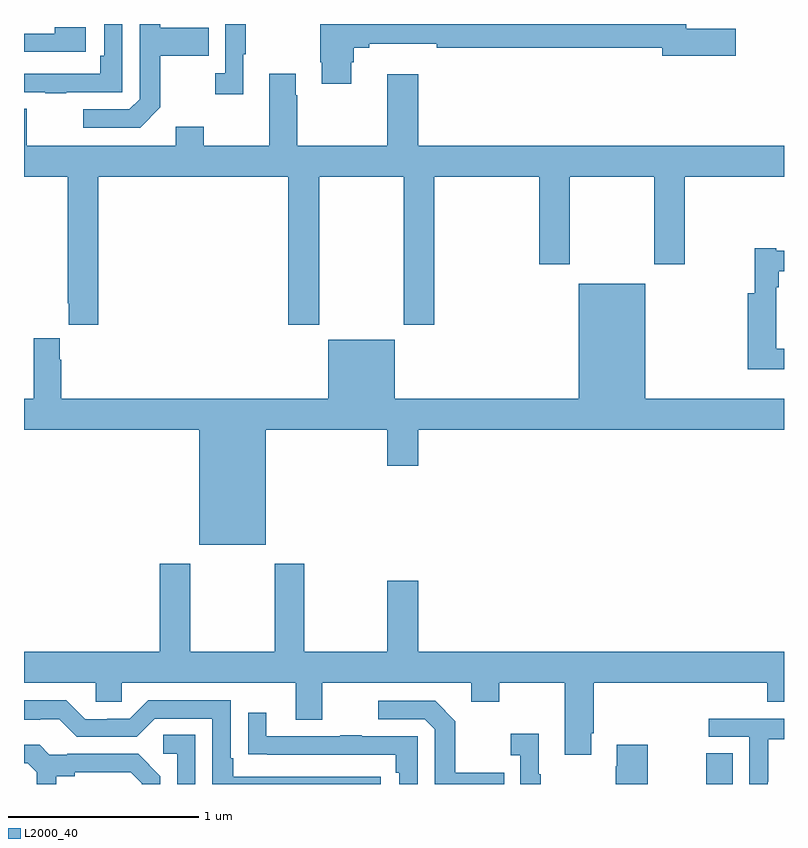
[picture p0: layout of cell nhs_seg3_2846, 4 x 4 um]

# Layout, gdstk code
import gdstk
lib = gdstk.Library(unit=1e-6, precision=1e-09)
def R(c, l, rs):  # rectangles x0, y0, x1, y1
    for r in rs: c.add(gdstk.rectangle(r[:2], r[2:], *l))
def P(c, l, *ps):  # polygons
    for p in ps: c.add(gdstk.Polygon(p, *l))
L2000_40 = (2000, 40)

nhs_seg3_2846 = lib.new_cell('nhs_seg3_2846')
R(nhs_seg3_2846, L2000_40, [(262.591,684.4,262.729,684.563)])
P(nhs_seg3_2846, L2000_40, [(259.717,687.961),(259.717,688.234),(259.973,688.234),(259.973,688.381),(259.717,688.381),(259.717,688.4),(259.608,688.4),(259.608,688.005),(259.554,687.951),(259.311,687.951),(259.311,687.855),(259.611,687.855)],
  [(260.722,688.199),(260.735,688.199),(260.735,688.276),(260.818,688.276),(260.818,688.295),(261.172,688.295),(261.172,688.276),(262.358,688.276),(262.358,688.234),(262.747,688.234),(262.747,688.376),(262.486,688.376),(262.486,688.4),(260.56,688.4),(260.56,688.198),(260.567,688.198),(260.567,688.086),(260.722,688.086)],
  [(260.155,688.241),(260.166,688.241),(260.166,688.4),(260.058,688.4),(260.058,688.142),(260.007,688.142),(260.007,688.029),(260.155,688.029)],
  [(259.223,688.041),(259.518,688.041),(259.518,688.4),(259.422,688.4),(259.422,688.234),(259.402,688.234),(259.402,688.137),(259,688.137),(259,688.041),(259.111,688.041),(259.111,688.036),(259.223,688.036)],
  [(259.324,688.384),(259.163,688.384),(259.163,688.35),(259,688.35),(259,688.254),(259.324,688.254)],
  [(259.391,687.596),(260.392,687.596),(260.392,686.817),(260.553,686.817),(260.553,687.596),(260.998,687.596),(260.998,686.817),(261.158,686.817),(261.158,687.596),(261.713,687.596),(261.713,687.135),(261.873,687.135),(261.873,687.596),(262.318,687.596),(262.318,687.135),(262.478,687.135),(262.478,687.596),(263,687.596),(263,687.76),(261.076,687.76),(261.076,688.135),(260.912,688.135),(260.912,687.76),(260.439,687.76),(260.439,688.025),(260.431,688.025),(260.431,688.138),(260.291,688.138),(260.291,687.76),(259.947,687.76),(259.947,687.859),(259.799,687.859),(259.799,687.76),(259.015,687.76),(259.015,687.955),(259,687.955),(259,687.596),(259.231,687.596),(259.231,686.929),(259.235,686.929),(259.235,686.817),(259.391,686.817)],
  [(263,686.692),(262.958,686.692),(262.958,687.014),(262.973,687.014),(262.973,687.099),(263,687.099),(263,687.207),(262.96,687.207),(262.96,687.22),(262.845,687.22),(262.845,686.983),(262.808,686.983),(262.808,686.582),(263,686.582)],
  [(261.076,686.264),(263,686.264),(263,686.428),(262.27,686.428),(262.27,687.034),(261.92,687.034),(261.92,686.428),(260.95,686.428),(260.95,686.737),(260.6,686.737),(260.6,686.428),(259.196,686.428),(259.196,686.633),(259.189,686.633),(259.189,686.746),(259.052,686.746),(259.052,686.428),(259,686.428),(259,686.264),(259.922,686.264),(259.922,685.658),(260.272,685.658),(260.272,686.264),(260.912,686.264),(260.912,686.076),(261.076,686.076)],
  [(261.985,684.667),(261.998,684.667),(261.998,684.932),(262.913,684.932),(262.913,684.833),(263,684.833),(263,685.096),(261.076,685.096),(261.076,685.471),(260.912,685.471),(260.912,685.096),(260.475,685.096),(260.475,685.558),(260.32,685.558),(260.32,685.096),(259.875,685.096),(259.875,685.558),(259.715,685.558),(259.715,685.096),(259,685.096),(259,684.932),(259.377,684.932),(259.377,684.834),(259.515,684.834),(259.515,684.932),(260.429,684.932),(260.429,684.738),(260.569,684.738),(260.569,684.932),(261.353,684.932),(261.353,684.833),(261.501,684.833),(261.501,684.932),(261.845,684.932),(261.845,684.555),(261.985,684.555)],
  [(260.878,684.438),(260.101,684.438),(260.101,684.535),(260.088,684.535),(260.088,684.84),(259.653,684.84),(259.557,684.744),(259.439,684.744),(259.439,684.741),(259.323,684.741),(259.223,684.841),(259,684.841),(259,684.737),(259.085,684.737),(259.085,684.741),(259.185,684.741),(259.278,684.648),(259.593,684.648),(259.689,684.744),(259.992,684.744),(259.992,684.4),(260.878,684.4)],
  [(261.527,684.459),(261.271,684.459),(261.271,684.731),(261.165,684.837),(260.865,684.837),(260.865,684.741),(261.108,684.741),(261.162,684.687),(261.162,684.4),(261.527,684.4)],
  [(261.072,684.651),(260.777,684.651),(260.777,684.656),(260.665,684.656),(260.665,684.651),(260.275,684.651),(260.275,684.775),(260.179,684.775),(260.179,684.556),(260.281,684.556),(260.281,684.555),(260.956,684.555),(260.956,684.458),(260.976,684.458),(260.976,684.4),(261.072,684.4)],
  [(262.914,684.412),(262.917,684.412),(262.917,684.636),(263,684.636),(263,684.744),(262.605,684.744),(262.605,684.648),(262.818,684.648),(262.818,684.4),(262.914,684.4)],
  [(261.721,684.451),(261.709,684.451),(261.709,684.664),(261.561,684.664),(261.561,684.551),(261.612,684.551),(261.612,684.4),(261.721,684.4)],
  [(259.902,684.659),(259.734,684.659),(259.734,684.558),(259.806,684.558),(259.806,684.4),(259.902,684.4)],
  [(262.284,684.607),(262.121,684.607),(262.121,684.494),(262.114,684.494),(262.114,684.4),(262.284,684.4)],
  [(259.171,684.44),(259.267,684.44),(259.267,684.462),(259.562,684.462),(259.619,684.405),(259.619,684.4),(259.716,684.4),(259.716,684.442),(259.6,684.558),(259.228,684.558),(259.228,684.555),(259.134,684.555),(259.082,684.607),(259,684.607),(259,684.51),(259.02,684.51),(259.067,684.463),(259.067,684.4),(259.171,684.4)])

lib.write_gds('nhs_seg3_2846.gds')
